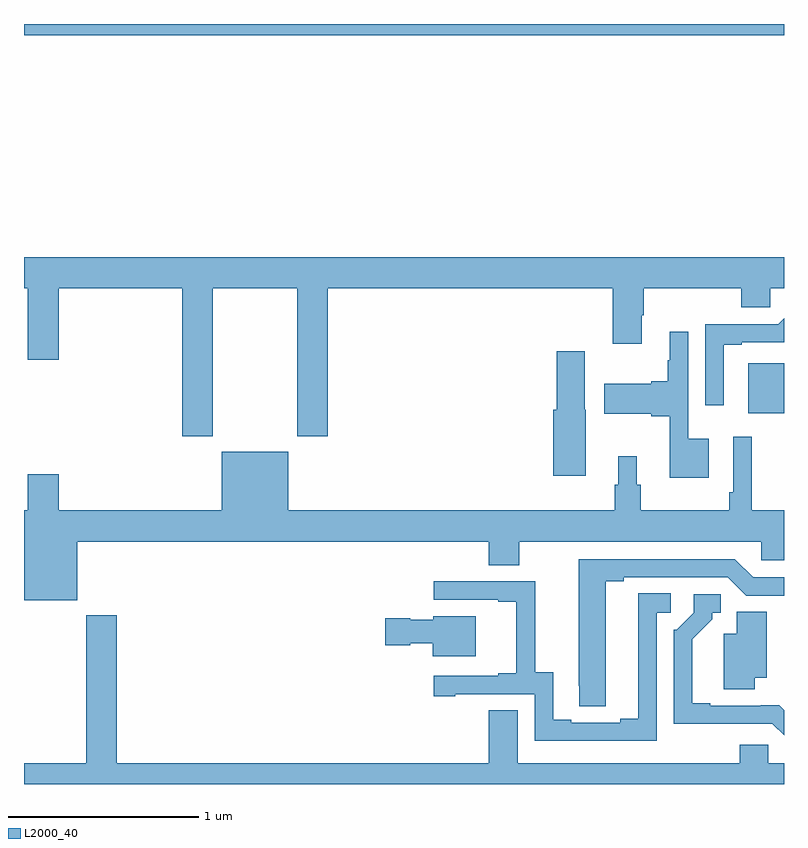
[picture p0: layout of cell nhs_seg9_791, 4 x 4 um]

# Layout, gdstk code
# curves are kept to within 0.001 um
import gdstk
lib = gdstk.Library(unit=1e-6, precision=1e-09)
def R(c, l, rs):  # rectangles x0, y0, x1, y1
    for r in rs: c.add(gdstk.rectangle(r[:2], r[2:], *l))
def P(c, l, *ps):  # polygons
    for p in ps: c.add(gdstk.Polygon(p, *l))
L2000_40 = (2000, 40)

nhs_seg9_791 = lib.new_cell('nhs_seg9_791')
R(nhs_seg9_791, L2000_40, [(156.812,1174.451,157,1174.714), (153,1176.44,157,1176.5)])
P(nhs_seg9_791, L2000_40, [(153.993,1175.108),(154.438,1175.108),(154.438,1174.329),(154.598,1174.329),(154.598,1175.108),(156.098,1175.108),(156.098,1174.818),(156.25,1174.818),(156.25,1174.966),(156.263,1174.966),(156.263,1175.108),(156.776,1175.108),(156.776,1175.01),(156.927,1175.01),(156.927,1175.108),(157,1175.108),(157,1175.272),(153,1175.272),(153,1175.108),(153.02,1175.108),(153.02,1174.734),(153.184,1174.734),(153.184,1175.108),(153.833,1175.108),(153.833,1174.329),(153.993,1174.329)],
  [(156.682,1174.812),(156.778,1174.812),(156.778,1174.824),(157,1174.824),(157,1174.951),(156.969,1174.92),(156.585,1174.92),(156.585,1174.494),(156.682,1174.494)],
  [(156.604,1174.318),(156.495,1174.318),(156.495,1174.879),(156.398,1174.879),(156.398,1174.73),(156.387,1174.73),(156.387,1174.619),(156.302,1174.619),(156.302,1174.606),(156.054,1174.606),(156.054,1174.448),(156.302,1174.448),(156.302,1174.436),(156.398,1174.436),(156.398,1174.112),(156.604,1174.112)],
  [(155.956,1174.47),(155.95,1174.47),(155.95,1174.777),(155.804,1174.777),(155.804,1174.47),(155.786,1174.47),(155.786,1174.122),(155.956,1174.122)],
  [(153.28,1173.776),(155.447,1173.776),(155.447,1173.652),(155.607,1173.652),(155.607,1173.776),(156.879,1173.776),(156.879,1173.678),(157,1173.678),(157,1173.94),(156.83,1173.94),(156.83,1174.327),(156.732,1174.327),(156.732,1174.036),(156.712,1174.036),(156.712,1173.94),(156.245,1173.94),(156.245,1174.074),(156.226,1174.074),(156.226,1174.225),(156.128,1174.225),(156.128,1174.074),(156.109,1174.074),(156.109,1173.94),(154.39,1173.94),(154.39,1174.249),(154.04,1174.249),(154.04,1173.94),(153.184,1173.94),(153.184,1174.129),(153.02,1174.129),(153.02,1173.94),(153,1173.94),(153,1173.467),(153.28,1173.467)],
  [(156.061,1173.568),(156.157,1173.568),(156.157,1173.588),(156.705,1173.588),(156.801,1173.492),(157,1173.492),(157,1173.588),(156.837,1173.588),(156.741,1173.684),(155.921,1173.684),(155.922,1172.908),(156.061,1172.908)],
  [(156.33,1173.402),(156.403,1173.402),(156.403,1173.503),(156.233,1173.503),(156.233,1172.843),(156.137,1172.843),(156.137,1172.823),(155.881,1172.823),(155.881,1172.838),(155.785,1172.838),(155.785,1173.089),(155.691,1173.089),(155.691,1173.567),(155.157,1173.567),(155.157,1173.471),(155.495,1173.471),(155.495,1173.459),(155.591,1173.459),(155.591,1173.082),(155.495,1173.082),(155.495,1173.069),(155.157,1173.069),(155.157,1172.961),(155.269,1172.961),(155.269,1172.973),(155.688,1172.973),(155.688,1172.727),(156.33,1172.727)],
  [(157,1172.888),(156.974,1172.914),(156.613,1172.913),(156.613,1172.926),(156.517,1172.926),(156.517,1173.262),(156.622,1173.367),(156.622,1173.402),(156.667,1173.402),(156.667,1173.498),(156.525,1173.498),(156.525,1173.402),(156.435,1173.312),(156.42,1173.312),(156.42,1172.816),(156.939,1172.817),(157,1172.756)],
  [(156.847,1173.059),(156.91,1173.059),(156.91,1173.407),(156.752,1173.407),(156.752,1173.292),(156.683,1173.292),(156.683,1172.998),(156.847,1172.998)],
  [(153,1172.5),(157,1172.5),(157,1172.608),(156.918,1172.608),(156.918,1172.706),(156.767,1172.706),(156.767,1172.608),(155.599,1172.608),(155.599,1172.888),(155.447,1172.888),(155.447,1172.608),(153.488,1172.608),(153.488,1173.388),(153.328,1173.388),(153.328,1172.608),(153,1172.608)],
  [(155.377,1173.382),(155.154,1173.382),(155.154,1173.364),(155.034,1173.364),(155.034,1173.372),(154.902,1173.372),(154.902,1173.23),(155.034,1173.23),(155.034,1173.242),(155.15,1173.242),(155.15,1173.173),(155.377,1173.173)])

lib.write_gds('nhs_seg9_791.gds')
